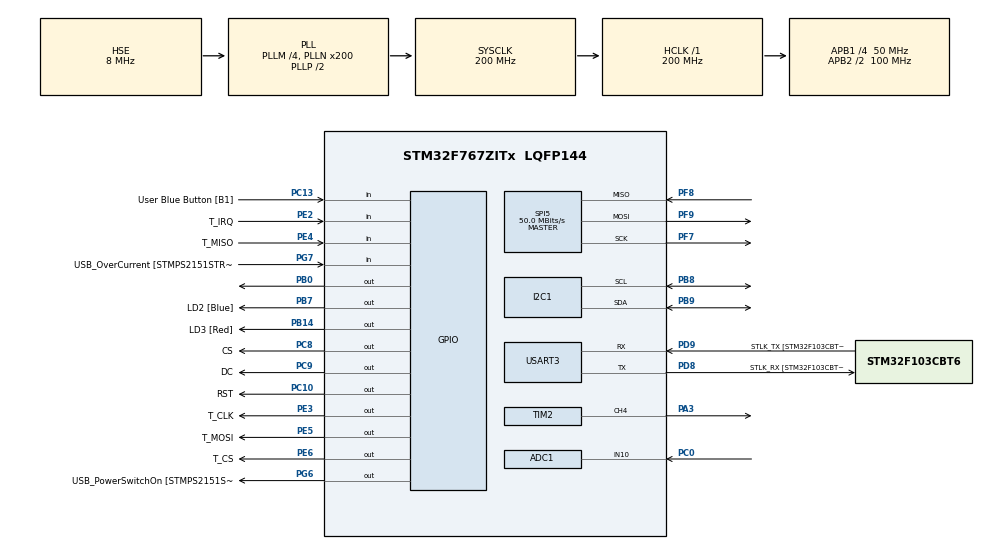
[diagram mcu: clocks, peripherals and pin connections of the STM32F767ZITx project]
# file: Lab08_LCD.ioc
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ADC1.Channel-2\#ChannelRegularConversion=ADC_CHANNEL_10
ADC1.ContinuousConvMode=ENABLE
ADC1.EOCSelection=ADC_EOC_SEQ_CONV
ADC1.NbrOfConversionFlag=1
ADC1.Rank-2\#ChannelRegularConversion=1
ADC1.SamplingTime-2\#ChannelRegularConversion=ADC_SAMPLETIME_3CYCLES
ADC1.master=1
CORTEX_M7.ART_ACCLERATOR_ENABLE=1
CORTEX_M7.CPU_DCache=Enabled
CORTEX_M7.CPU_ICache=Enabled
CORTEX_M7.PREFETCH_ENABLE=1
I2C1.Timing=0x00C0EAFF
Mcu.Family=STM32F7
Mcu.Name=STM32F767ZITx
Mcu.Package=LQFP144
NVIC.PriorityGroup=NVIC_PRIORITYGROUP_4
NVIC.TIM8_UP_TIM13_IRQn=true\:2\:0\:true\:false\:true\:true\:true\:true
PA1.GPIO_Label=RMII_REF_CLK [LAN8742A-CZ-TR_REFCLK0]
PA1.Signal=ETH_REF_CLK
PA13.GPIO_Label=TMS
PA13.Mode=Serial_Wire
PA13.Signal=SYS_JTMS-SWDIO
PA14.GPIO_Label=TCK
PA14.Mode=Serial_Wire
PA14.Signal=SYS_JTCK-SWCLK
PA2.GPIO_Label=RMII_MDIO [LAN8742A-CZ-TR_MDIO]
PA2.Signal=ETH_MDIO
PA3.GPIO_Speed=GPIO_SPEED_FREQ_VERY_HIGH
PA3.Signal=S_TIM2_CH4
PA7.GPIO_Label=RMII_CRS_DV [LAN8742A-CZ-TR_CRS_DV]
PA7.Signal=ETH_CRS_DV
PB0.Signal=GPIO_Output
PB13.GPIO_Label=RMII_TXD1 [LAN8742A-CZ-TR_TXD1]
PB13.Signal=ETH_TXD1
PB14.GPIO_Label=LD3 [Red]
PB14.Signal=GPIO_Output
PB3.GPIO_Label=SWO
PB3.Signal=SYS_JTDO-SWO
PB7.GPIO_Label=LD2 [Blue]
PB7.Signal=GPIO_Output
PB8.Mode=I2C
PB8.Signal=I2C1_SCL
PB9.Mode=I2C
PB9.Signal=I2C1_SDA
PC0.Signal=ADCx_IN10
PC1.GPIO_Label=RMII_MDC [LAN8742A-CZ-TR_MDC]
PC1.Signal=ETH_MDC
PC10.GPIO_Label=RST
PC10.GPIO_Speed=GPIO_SPEED_FREQ_VERY_HIGH
PC10.Signal=GPIO_Output
PC13.GPIO_Label=User Blue Button [B1]
PC13.Signal=GPIO_Input
PC14/OSC32_IN.Mode=LSE-External-Oscillator
PC14/OSC32_IN.Signal=RCC_OSC32_IN
PC15/OSC32_OUT.Mode=LSE-External-Oscillator
PC15/OSC32_OUT.Signal=RCC_OSC32_OUT
PC4.GPIO_Label=RMII_RXD0 [LAN8742A-CZ-TR_RXD0]
PC4.Signal=ETH_RXD0
PC5.GPIO_Label=RMII_RXD1 [LAN8742A-CZ-TR_RXD1]
PC5.Signal=ETH_RXD1
PC8.GPIO_Label=CS
PC8.GPIO_Speed=GPIO_SPEED_FREQ_VERY_HIGH
PC8.Signal=GPIO_Output
PC9.GPIO_Label=DC
PC9.GPIO_Speed=GPIO_SPEED_FREQ_VERY_HIGH
PC9.Signal=GPIO_Output
PD8.GPIO_Label=STLK_RX [STM32F103CBT6_PA3]
PD8.Mode=Asynchronous
PD8.Signal=USART3_TX
PD9.GPIO_Label=STLK_TX [STM32F103CBT6_PA2]
PD9.Mode=Asynchronous
PD9.Signal=USART3_RX
PE2.GPIO_Label=T_IRQ
PE2.Signal=GPIO_Input
PE3.GPIO_Label=T_CLK
PE3.GPIO_Speed=GPIO_SPEED_FREQ_VERY_HIGH
PE3.Signal=GPIO_Output
PE4.GPIO_Label=T_MISO
PE4.Signal=GPIO_Input
PE5.GPIO_Label=T_MOSI
PE5.GPIO_Speed=GPIO_SPEED_FREQ_VERY_HIGH
PE5.Signal=GPIO_Output
PE6.GPIO_Label=T_CS
PE6.GPIO_Speed=GPIO_SPEED_FREQ_VERY_HIGH
PE6.Signal=GPIO_Output
PF7.Mode=Full_Duplex_Master
PF7.Signal=SPI5_SCK
PF8.Mode=Full_Duplex_Master
PF8.Signal=SPI5_MISO
PF9.Mode=Full_Duplex_Master
PF9.Signal=SPI5_MOSI
PG11.GPIO_Label=RMII_TX_EN [LAN8742A-CZ-TR_TXEN]
PG11.Signal=ETH_TX_EN
PG13.GPIO_Label=RMII_TXD0 [LAN8742A-CZ-TR_TXD0]
PG13.Signal=ETH_TXD0
PG6.GPIO_Label=USB_PowerSwitchOn [STMPS2151STR_EN]
PG6.Signal=GPIO_Output
PG7.GPIO_Label=USB_OverCurrent [STMPS2151STR_FAULT]
PG7.Signal=GPIO_Input
PH0/OSC_IN.GPIO_Label=MCO [STM32F103CBT6_PA8]
PH0/OSC_IN.Mode=HSE-External-Clock-Source
PH0/OSC_IN.Signal=RCC_OSC_IN
PH1/OSC_OUT.Mode=HSE-External-Clock-Source
PH1/OSC_OUT.Signal=RCC_OSC_OUT
ProjectManager.HeapSize=0x200
ProjectManager.StackSize=0x400
ProjectManager.TargetToolchain=STM32CubeIDE
RCC.48MHZClocksFreq_Value=24000000
RCC.AHBFreq_Value=200000000
RCC.APB1CLKDivider=RCC_HCLK_DIV4
RCC.APB1Freq_Value=50000000
RCC.APB1TimFreq_Value=100000000
RCC.APB2CLKDivider=RCC_HCLK_DIV2
RCC.APB2Freq_Value=100000000
RCC.APB2TimFreq_Value=200000000
RCC.CortexFreq_Value=200000000
RCC.HCLKFreq_Value=200000000
RCC.HSE_VALUE=8000000
RCC.HSI_VALUE=16000000
RCC.PLLM=4
RCC.PLLMUL=RCC_PLL_MUL9
RCC.PLLN=200
RCC.PLLQ=9
RCC.PLLSourceVirtual=RCC_PLLSOURCE_HSE
RCC.PRESCALERUSB=RCC_USBCLKSOURCE_PLL_DIV1_5
RCC.SYSCLKFreq_VALUE=200000000
RCC.SYSCLKSource=RCC_SYSCLKSOURCE_PLLCLK
RCC.SYSCLKSourceVirtual=RCC_SYSCLKSOURCE_PLLCLK
RCC.USBFreq_Value=44444444.44444445
RCC.VCOOutputFreq_Value=400000000
SH.ADCx_IN10.0=ADC1_IN10,IN10
SH.S_TIM2_CH4.0=TIM2_CH4,PWM Generation4 CH4
SPI5.CalculateBaudRate=50.0 MBits/s
SPI5.DataSize=SPI_DATASIZE_8BIT
SPI5.Direction=SPI_DIRECTION_2LINES
SPI5.Mode=SPI_MODE_MASTER
SPI5.NSSPMode=SPI_NSS_PULSE_DISABLE
SPI5.VirtualType=VM_MASTER
TIM1.ClockDivision=TIM_CLOCKDIVISION_DIV2
TIM1.Period=0
TIM1.Prescaler=10000-1
TIM2.Channel-PWM\ Generation4\ CH4=TIM_CHANNEL_4
TIM2.Period=10000-1
TIM2.Prescaler=99-1
TIM2.Pulse-PWM\ Generation4\ CH4=10000/4-1
TIM8.Period=10000-1
TIM8.Prescaler=20000-1
USART3.VirtualMode-Asynchronous=VM_ASYNC
VP_RNG_VS_RNG.Mode=RNG_Activate
VP_TIM1_VS_ClockSourceINT.Mode=Internal
VP_TIM8_VS_ClockSourceINT.Mode=Internal
board=NUCLEO-F767ZI

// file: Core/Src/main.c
/* USER CODE BEGIN Header */
/**
  ******************************************************************************
  * @file           : main.c
  * @brief          : Main program body
  ******************************************************************************
  * @attention
  *
  * <h2><center>&copy; Copyright (c) 2021 STMicroelectronics.
  * All rights reserved.</center></h2>
  *
  * This software component is licensed by ST under BSD 3-Clause license,
  * the "License"; You may not use this file except in compliance with the
  * License. You may obtain a copy of the License at:
  *                        opensource.org/licenses/BSD-3-Clause
  *
  ******************************************************************************
  */
/* USER CODE END Header */
#include "main.h"
#include "adc.h"
#include "i2c.h"
#include "rng.h"
#include "spi.h"
#include "tim.h"
#include "usart.h"
#include "gpio.h"

/* USER CODE BEGIN Includes */
#include "stdio.h"
#include "ILI9341_Touchscreen.h"

#include "ILI9341_STM32_Driver.h"
#include "ILI9341_GFX.h"

#include "snow_tiger.h"
#include "string.h"
#include "am2320.h"
#include "picture.h"
/* USER CODE END Includes */

/* USER CODE BEGIN PV */
/* Private variables ---------------------------------------------------------*/
float h=30.0, t=40.0;
float dutyCycle = 0.0;
uint8_t step = 0;
HAL_StatusTypeDef status;
uint16_t color = 0;
uint16_t r_density = 0;
uint16_t g_density = 0;
uint16_t b_density = 0;
uint32_t count;
uint32_t lasted_count;
uint8_t state = 0;
volatile uint32_t adc_val = 0;
/* USER CODE END PV */

void SystemClock_Config(void);
/* USER CODE BEGIN PFP */
/* Private function prototypes -----------------------------------------------*/
uint16_t CRC16_2(uint8_t *, uint8_t);
/* USER CODE END PFP */

int main(void)
{
  /* USER CODE BEGIN 1 */
	char str[50];
	char str1[50];
	char r[50];
	char g[50];
	char b[50];
	//uint8_t cmdBuffer[3];
	//uint8_t dataBuffer[8];
  /* USER CODE END 1 */

  /* Enable I-Cache---------------------------------------------------------*/
  SCB_EnableICache();

  /* Enable D-Cache---------------------------------------------------------*/
  SCB_EnableDCache();

  /* MCU Configuration--------------------------------------------------------*/

  /* Reset of all peripherals, Initializes the Flash interface and the Systick. */
  HAL_Init();

  /* Configure the system clock */
  SystemClock_Config();

  /* Initialize all configured peripherals */
  MX_GPIO_Init();
  MX_USART3_UART_Init();
  MX_SPI5_Init();
  MX_TIM1_Init();
  MX_RNG_Init();
  MX_I2C1_Init();
  MX_TIM8_Init();
  MX_ADC1_Init();
  MX_TIM2_Init();
  /* USER CODE BEGIN 2 */
  ILI9341_Init();//initial driver setup to drive ili9341
  //sprintf(str, "\n\rAM2320 I2C DEMO Starting . . . \n\r");
  Am2320_HandleTypeDef Am2320_;
  Am2320_ = am2320_Init(&hi2c1, AM2320_ADDRESS);
  HAL_UART_Transmit(&huart3, (uint8_t*) str, strlen(str), 200);
  float temperature, humidity;
  uint8_t rx = 0;
  uint8_t gx = 0;
  uint8_t bx = 0;
  //cmdBuffer[0] = 0x03;
  //cmdBuffer[1] = 0x00;
  //cmdBuffer[2] = 0x04;
  char fname[32] = "Phacharaphol";
  char lname[32] = "Chokkhun";
  char std_id[32] = "63010631";
  char group_no[32] = "Group No.1";
  ILI9341_Fill_Screen(WHITE);
  ILI9341_Set_Rotation(SCREEN_HORIZONTAL_1);
  HAL_TIM_Base_Start_IT(&htim8);
  HAL_ADC_Start(&hadc1);
  htim2.Instance -> CCR4 = (10000-1) * dutyCycle;
   HAL_TIM_PWM_Start(&htim2, TIM_CHANNEL_4);
  /* USER CODE END 2 */

  /* Infinite loop */
  while (1)
  {

    /* USER CODE BEGIN 3 */
	  if(state == 0)
	  {
	  	  sprintf(r,"%3d %%",(int)rx*100/120);
	  	  sprintf(g,"%3d %%",(int)gx*100/120);
	  	  sprintf(b,"%3d %%",(int)bx*100/120);

	  	  color = (r_density << 11) + (g_density << 5) + b_density;
	  	  ILI9341_Draw_Filled_Circle(125, 30, 25, color);

	  	  ILI9341_Draw_Filled_Circle(25, 85, 20, 0xF800);
	  	  ILI9341_Draw_Filled_Rectangle_Coord(70, 70, 190, 100, 0xFDB6);
	  	  ILI9341_Draw_Filled_Rectangle_Coord(70, 70, 70+rx, 100, 0xF800);
	  	  ILI9341_Draw_Text(r, 200, 70, BLACK, 2, WHITE);

	  	  ILI9341_Draw_Filled_Circle(25, 145, 20, 0x07E0);
	  	  ILI9341_Draw_Filled_Rectangle_Coord(70, 130, 190, 160, 0xCFFA);
	  	  ILI9341_Draw_Filled_Rectangle_Coord(70, 130, 70+gx, 160, 0x07E0);
	  	  ILI9341_Draw_Text(g, 200, 130, BLACK, 2, WHITE);

	  	  ILI9341_Draw_Filled_Circle(25, 205, 20, 0x001F);
	  	  ILI9341_Draw_Filled_Rectangle_Coord(70, 190, 190, 220, 0xCE5F);
	  	  ILI9341_Draw_Filled_Rectangle_Coord(70, 190, 70+bx, 220, 0x001F);
	  	  ILI9341_Draw_Text(b, 200, 190, BLACK, 2, WHITE);

	  	  am2320_GetTemperatureAndHumidity(&Am2320_, &temperature, &humidity);
	  	  sprintf(str, "%4.1f C",temperature);
	  	  sprintf(str1, "%4.1f %%RH" ,humidity);
	  	  ILI9341_Draw_Text(str, 20, 20, BLACK, 2, WHITE);
	  	  ILI9341_Draw_Text(str1, 160, 20, BLACK, 2, WHITE);

	  	  if(TP_Touchpad_Pressed())
	  	  {
	  		  uint16_t x_pos = 0;
	  		  uint16_t y_pos = 0;
	  		  HAL_GPIO_WritePin(GPIOB, LD3_Pin|LD2_Pin, GPIO_PIN_SET);
	  		  uint16_t position_array[2];
	  		  if(TP_Read_Coordinates(position_array) == TOUCHPAD_DATA_OK)
	  		  {
	  		  	  	y_pos = 240 - position_array[0];
	  		  	  	x_pos = position_array[1];
	  		  	  	if((x_pos >= 5 && x_pos <= 45) && (y_pos >= 65 && y_pos <= 105))
	  		  	  	{
	  		  	  		//ILI9341_Draw_Hollow_Rectangle_Coord(5, 65, 45, 105, 0x001F);
	  		  	  		rx += 12;
	  		  	  		r_density += (int)31*10/100;
	  		  	  		if(rx > 120)
	  		  	  		{
	  		  	  			r_density = 0;
	  		  	  			rx = 0;
	  		  	  		}
	  		  	  	}
	  		  	  	if((x_pos >= 5 && x_pos <= 45) && (y_pos >= 125 && y_pos <= 165))
	  		  	  	{
	  		  	  		//ILI9341_Draw_Hollow_Rectangle_Coord(5, 125, 45, 165, 0x001F);
	  		  	  		gx += 12;
	  		  	  		g_density += (int)63*10/100;
	  		  	  		if(gx > 120)
	  		  	  		{
	  		  	  			g_density = 0;
	  		  	  			gx = 0;
	  		  	  		}
	  		  	  	}
	  		  	  	if((x_pos >= 5 && x_pos <= 45) && (y_pos >= 185 && y_pos <= 225))
	  		  	  	{
	  		  	  		//ILI9341_Draw_Hollow_Rectangle_Coord(5, 185, 45, 225, 0x00FF);
	  		  			bx += 12;
	  		  			b_density += (int)31*10/100;
	  		  			if(bx > 120)
	  		  			{
	  		  				b_density = 0;
	  		  				bx = 0;
	  		  			}
	  		  		}
	  		  	  	if((x_pos >= 100 && x_pos <= 150) && (y_pos >= 5 && y_pos <= 55))
	  		  	  	{
	  		  	  		//ILI9341_Draw_Hollow_Rectangle_Coord(100, 5, 150, 55, 0x00FF);
	  		  	  		HAL_Delay(200);
	  		  	  		ILI9341_Fill_Screen(WHITE);
	  		  	  		state = 1;
	  		  	  		count = 0;
	  		  	  	}
	  		  }
	  		  else
	  		  {
	  		  	  				HAL_GPIO_WritePin(GPIOB, LD3_Pin|LD2_Pin, GPIO_PIN_RESET);
	  		  }
	  	  }

	  	}
	  	else
	  	{
	  		ILI9341_Draw_Image((const char*)my_picture , SCREEN_HORIZONTAL_1);
	  		ILI9341_Draw_Text(group_no, 120, 60, BLACK, 2, WHITE);
	  		ILI9341_Draw_Text(fname, 120, 85, BLACK, 2, WHITE);
	  		ILI9341_Draw_Text(lname, 120, 110, BLACK, 2, WHITE);
	  		ILI9341_Draw_Text(std_id, 120, 135, BLACK, 2, WHITE);
	  		if (count >= 5 )
	  		{
	  			ILI9341_Fill_Screen(WHITE);
	  			state = 0;
	  		}
	  		else if(TP_Touchpad_Pressed() )
	  		{
	  			//HAL_Delay(1000);
	  			ILI9341_Fill_Screen(WHITE);
	  			state = 0;
	  		}
	  	}
	  	  while (HAL_ADC_PollForConversion(&hadc1, 100) != HAL_OK){}
	  	  	  adc_val = HAL_ADC_GetValue(&hadc1);
	  	  	  dutyCycle = 0.2 + (adc_val/4095.0 * 0.8);
	  	  htim2.Instance -> CCR4 = (10000-1) * dutyCycle;
	  	  /*while(__HAL_UART_GET_FLAG(&huart3,UART_FLAG_TC)== RESET){}
	  	  HAL_UART_Transmit(&huart3, (uint8_t*) str, strlen(str), 200);

	  	  HAL_Delay(5000);*/
	  	  /*HAL_GPIO_TogglePin(GPIOB, GPIO_PIN_0);

	  	  HAL_I2C_Master_Transmit(&hi2c1, 0x5c << 1, cmdBuffer, 3, 200);
	  	  HAL_I2C_Master_Transmit(&hi2c1, 0x5c << 1, cmdBuffer, 3, 200);
	  	  HAL_Delay(1);

	  	  HAL_I2C_Master_Receive(&hi2c1, 0x5c<<1, dataBuffer, 8, 200);

	  	  uint16_t Rcrc = dataBuffer[7] << 8;
	  	  Rcrc += dataBuffer[6];
	  	  if (Rcrc == CRC16_2(dataBuffer, 6)){
	  		  uint16_t temperature = ((dataBuffer[4] & 0x7F) << 8) + dataBuffer[5];
	  		  t = temperature /10.0;
	  		  t = (((dataBuffer[4] & 0x80) >> 7)==1) ? (t * (-1)) : t ;
	  		  uint16_t humidity = (dataBuffer[2] << 8) + dataBuffer[3];
	  		  h = humidity /10.0;
	  	  }
	  	*/
  }
  /* USER CODE END 3 */
}

void SystemClock_Config(void)
{
  RCC_OscInitTypeDef RCC_OscInitStruct = {0};
  RCC_ClkInitTypeDef RCC_ClkInitStruct = {0};
  RCC_PeriphCLKInitTypeDef PeriphClkInitStruct = {0};

  /** Configure LSE Drive Capability
  */
  HAL_PWR_EnableBkUpAccess();
  /** Configure the main internal regulator output voltage
  */
  __HAL_RCC_PWR_CLK_ENABLE();
  __HAL_PWR_VOLTAGESCALING_CONFIG(PWR_REGULATOR_VOLTAGE_SCALE1);
  /** Initializes the RCC Oscillators according to the specified parameters
  * in the RCC_OscInitTypeDef structure.
  */
  RCC_OscInitStruct.OscillatorType = RCC_OSCILLATORTYPE_HSE;
  RCC_OscInitStruct.HSEState = RCC_HSE_BYPASS;
  RCC_OscInitStruct.PLL.PLLState = RCC_PLL_ON;
  RCC_OscInitStruct.PLL.PLLSource = RCC_PLLSOURCE_HSE;
  RCC_OscInitStruct.PLL.PLLM = 4;
  RCC_OscInitStruct.PLL.PLLN = 200;
  RCC_OscInitStruct.PLL.PLLP = RCC_PLLP_DIV2;
  RCC_OscInitStruct.PLL.PLLQ = 9;
  RCC_OscInitStruct.PLL.PLLR = 2;
  if (HAL_RCC_OscConfig(&RCC_OscInitStruct) != HAL_OK)
  {
    Error_Handler();
  }
  /** Activate the Over-Drive mode
  */
  if (HAL_PWREx_EnableOverDrive() != HAL_OK)
  {
    Error_Handler();
  }
  /** Initializes the CPU, AHB and APB buses clocks
  */
  RCC_ClkInitStruct.ClockType = RCC_CLOCKTYPE_HCLK|RCC_CLOCKTYPE_SYSCLK
                              |RCC_CLOCKTYPE_PCLK1|RCC_CLOCKTYPE_PCLK2;
  RCC_ClkInitStruct.SYSCLKSource = RCC_SYSCLKSOURCE_PLLCLK;
  RCC_ClkInitStruct.AHBCLKDivider = RCC_SYSCLK_DIV1;
  RCC_ClkInitStruct.APB1CLKDivider = RCC_HCLK_DIV4;
  RCC_ClkInitStruct.APB2CLKDivider = RCC_HCLK_DIV2;

  if (HAL_RCC_ClockConfig(&RCC_ClkInitStruct, FLASH_LATENCY_6) != HAL_OK)
  {
    Error_Handler();
  }
  PeriphClkInitStruct.PeriphClockSelection = RCC_PERIPHCLK_USART3|RCC_PERIPHCLK_I2C1
                              |RCC_PERIPHCLK_CLK48;
  PeriphClkInitStruct.Usart3ClockSelection = RCC_USART3CLKSOURCE_PCLK1;
  PeriphClkInitStruct.I2c1ClockSelection = RCC_I2C1CLKSOURCE_PCLK1;
  PeriphClkInitStruct.Clk48ClockSelection = RCC_CLK48SOURCE_PLL;
  if (HAL_RCCEx_PeriphCLKConfig(&PeriphClkInitStruct) != HAL_OK)
  {
    Error_Handler();
  }
}

/* USER CODE BEGIN 4 */
uint16_t CRC16_2(uint8_t *ptr, uint8_t length)
{
	uint16_t crc = 0xFFFF;
	uint8_t s = 0x00;

	while(length--)
	{
		crc ^= *ptr++;
		for(s = 0; s < 8; s++){
			if ((crc & 0x01) != 0){
				crc >>= 1;
				crc ^= 0xA001;
			}else crc >>= 1 ;
		}
	}
	return crc;
}
/* USER CODE END 4 */

void Error_Handler(void)
{
  while(1)
  {
  }
}

/************************ (C) COPYRIGHT STMicroelectronics *****END OF FILE****/
